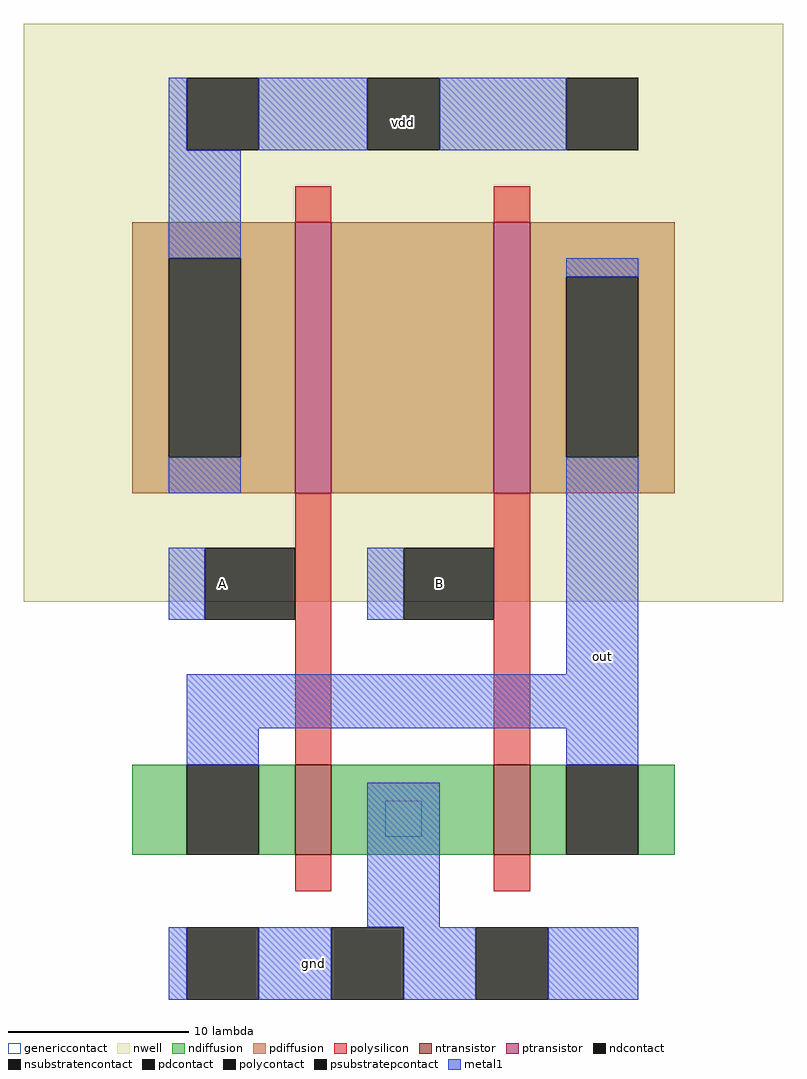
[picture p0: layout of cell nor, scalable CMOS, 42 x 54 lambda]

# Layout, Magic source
magic
tech scmos
<< nwell >>
rect 3 -4 45 28
<< ntransistor >>
rect 18 -18 20 -13
rect 29 -18 31 -13
<< ptransistor >>
rect 18 2 20 17
rect 29 2 31 17
<< ndiffusion >>
rect 9 -18 12 -13
rect 16 -18 18 -13
rect 20 -18 29 -13
rect 31 -18 33 -13
rect 37 -18 39 -13
<< pdiffusion >>
rect 9 15 18 17
rect 9 4 11 15
rect 15 4 18 15
rect 9 2 18 4
rect 20 2 29 17
rect 31 14 39 17
rect 31 4 33 14
rect 37 4 39 14
rect 31 2 39 4
<< ndcontact >>
rect 12 -18 16 -13
rect 33 -18 37 -13
<< pdcontact >>
rect 11 4 15 15
rect 33 4 37 14
<< psubstratepcontact >>
rect 12 -26 16 -22
rect 20 -26 24 -22
rect 28 -26 32 -22
<< nsubstratencontact >>
rect 12 21 16 25
rect 22 21 26 25
rect 33 21 37 25
<< polysilicon >>
rect 18 17 20 19
rect 29 17 31 19
rect 18 -13 20 2
rect 29 -13 31 2
rect 18 -20 20 -18
rect 29 -20 31 -18
<< polycontact >>
rect 13 -5 18 -1
rect 24 -5 29 -1
<< genericcontact >>
rect 23 -17 25 -15
<< metal1 >>
rect 11 21 12 25
rect 16 21 22 25
rect 26 21 33 25
rect 11 15 15 21
rect 11 2 15 4
rect 33 14 37 15
rect 11 -5 13 -1
rect 22 -5 24 -1
rect 33 -8 37 4
rect 12 -11 37 -8
rect 12 -13 16 -11
rect 33 -13 37 -11
rect 22 -22 26 -14
rect 11 -26 12 -22
rect 16 -26 20 -22
rect 24 -26 28 -22
rect 32 -26 37 -22
<< labels >>
rlabel nsubstratencontact 23 22 25 23 1 vdd
rlabel metal1 35 -7 35 -7 1 out
rlabel metal1 19 -24 19 -24 1 gnd
rlabel polycontact 14 -3 14 -3 1 A
rlabel polycontact 26 -3 26 -3 1 B
<< end >>
